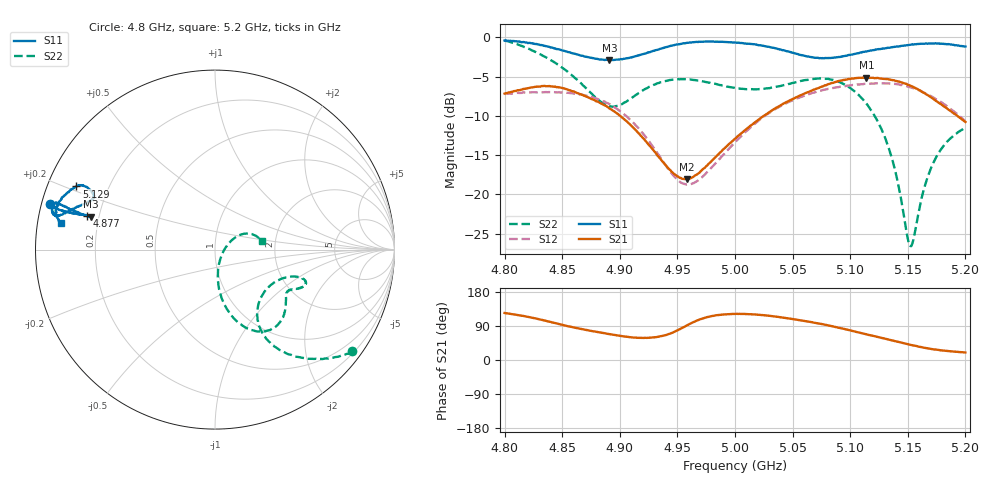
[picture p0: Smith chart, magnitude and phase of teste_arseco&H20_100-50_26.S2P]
! Network Analyzer HP8722D
! Hewlett-Packard
! Data name: Linha & Wilkinson
! Saver's name: Rodrigo Anjos
! Comments: Teste da utilização de aquisição
! continua pelo VNA HP8722D
! Time and date: 6/5/2025 12:47
!  Frequency  S11  S21  S12  S22
# HZ  S  MA R 50
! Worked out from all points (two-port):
!   401 points, 4.8 GHz to 5.2 GHz, reference 50 ohm
!   highest |S21| = -5.14 dB at 5.114 GHz (marker M1); lowest = -18.1 dB at 4.958 GHz (marker M2)
!   |S21| within 3 dB of the highest: start of sweep to 4.879 GHz; 5.046 GHz to 5.175 GHz (128.6 MHz wide, 2.52 % of centre)
!   lowest |S11| = -2.9 dB at 4.891 GHz (marker M3), VSWR 6.02, Z = 8.45 + j6.36 ohm
!   |S11| at or under -10 dB: nowhere
!   |S22| runs from -26.6 to -0.4 dB; largest |S21 - S12| = 0.71
!   S11 on the Smith chart (normalised r, x): 4.8 GHz: 0.02, +0.14; 4.877 GHz: 0.15, +0.13; 5.129 GHz: 0.09, +0.22; 5.2 GHz: 0.07, +0.09
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4.8e9  0.9523 164.4  0.4378 124.1  0.4343 19.2  0.9521 -36.5
4.834e9  0.8834 165.8  0.4892 104.7  0.4462 8.6  0.7573 -52.2
4.867e9  0.7636 165.2  0.4305 81.5  0.4309 -5.3  0.5038 -60.0
4.877e9  0.7359 165.2  0.4005 75.7  0.4137 -10.9  0.4264 -56.6
4.891e9  0.7151 165.1  0.3521 68.1  0.3755 -19.4  0.3643 -42.5
4.91e9  0.7436 165.1  0.2729 60.0  0.2937 -30.2  0.4092 -23.2
4.934e9  0.839 164.4  0.1721 61.6  0.1773 -32.8  0.5111 -18.3
4.958e9  0.9207 163.5  0.1249 90.8  0.1153 -1.7  0.5406 -21.4
5e9  0.9283 167.4  0.2256 121.5  0.2143 39.9  0.4756 -27.9
5.034e9  0.8553 166.0  0.3491 115.0  0.3454 36.0  0.4809 -34.7
5.067e9  0.7464 158.6  0.4596 99.7  0.4421 21.8  0.5413 -47.6
5.091e9  0.7482 155.2  0.5281 84.5  0.4844 8.5  0.5171 -61.9
5.114e9  0.8127 154.1  0.5535 67.9  0.5043 -5.0  0.3785 -76.2
5.129e9  0.8494 155.5  0.543 57.2  0.5084 -14.5  0.242 -83.4
5.134e9  0.857 156.3  0.5378 53.4  0.5077 -17.9  0.1915 -84.6
5.141e9  0.8738 158.0  0.5249 48.4  0.5017 -22.8  0.1223 -82.2
5.15e9  0.8919 160.2  0.4976 41.8  0.4858 -28.9  0.05199 -48.6
5.153e9  0.8969 160.9  0.4893 39.5  0.4779 -31.0  0.04671 -18.7
5.164e9  0.909 163.8  0.4425 32.5  0.4443 -37.8  0.1082 29.4
5.172e9  0.9128 165.6  0.4059 28.3  0.4145 -42.1  0.1576 30.6
5.184e9  0.902 167.9  0.3524 23.7  0.3638 -47.5  0.2158 24.1
5.2e9  0.8727 170.0  0.2888 19.8  0.292 -52.2  0.2647 10.2
